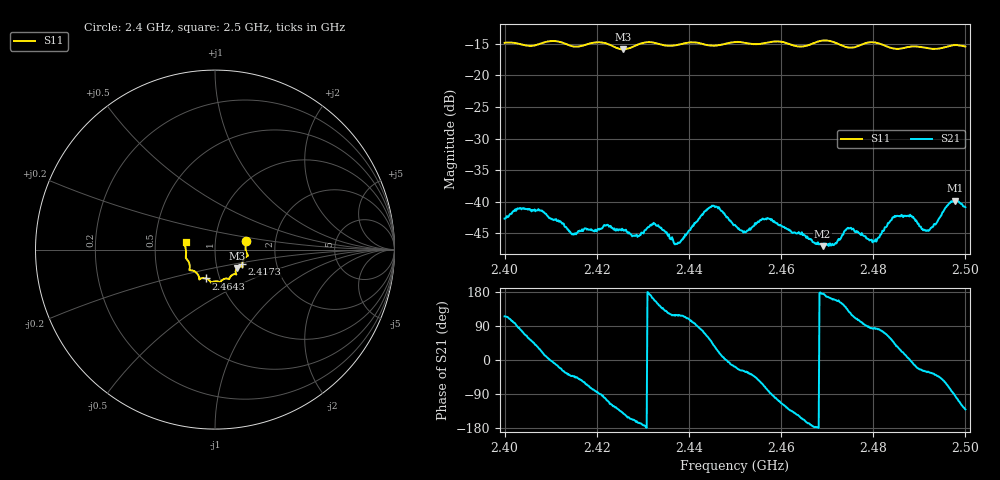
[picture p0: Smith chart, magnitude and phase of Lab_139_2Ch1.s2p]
# Hz S RI R 50
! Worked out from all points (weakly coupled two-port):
!   601 points, 2.4 GHz to 2.5 GHz, reference 50 ohm
!   highest |S21| = -39.80 dB at 2.4978 GHz (marker M1); lowest = -47.0 dB at 2.469 GHz (marker M2)
!   lowest |S11| = -15.9 dB at 2.4257 GHz (marker M3), VSWR 1.38, Z = 62.5 - j13.1 ohm
!   |S11| at or under -10 dB: start of sweep to end of sweep
!   S12 and S22 are empty: the file has one direction only
!   S11 on the Smith chart (normalised r, x): 2.4 GHz: 1.41, +0.14; 2.4173 GHz: 1.34, -0.23; 2.4643 GHz: 0.86, -0.29; 2.5 GHz: 0.72, +0.06
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2.4e9  0.1735 0.0496  -0.00313 0.00667  0 0  0 0
2.407667e9  0.1764 -0.0177  0.00752 0.00406  0 0  0 0
2.414667e9  0.1614 -0.0523  0.00413 -0.00367  0 0  0 0
2.416667e9  0.153 -0.0746  0.00355 -0.00469  0 0  0 0
2.417333e9  0.1522 -0.0821  0.00321 -0.00526  0 0  0 0
2.425667e9  0.1229 -0.1025  -0.0046 -0.0039  0 0  0 0
2.433333e9  0.1125 -0.1367  -0.00552 0.00353  0 0  0 0
2.4375e9  0.0849 -0.1512  -0.00223 0.00409  0 0  0 0
2.4455e9  0.0516 -0.1632  0.0074 0.0056  0 0  0 0
2.45e9  0.029 -0.1809  0.00628 -0.00198  0 0  0 0
2.452333e9  0.021 -0.1786  0.00489 -0.00303  0 0  0 0
2.457167e9  -0.0143 -0.181  0.00118 -0.00732  0 0  0 0
2.464333e9  -0.05 -0.1609  -0.00502 -0.00251  0 0  0 0
2.466667e9  -0.0761 -0.1597  -0.00494 -0.00062  0 0  0 0
2.469e9  -0.0877 -0.1661  -0.00445 0.000355  0 0  0 0
2.474667e9  -0.1031 -0.1294  -0.00383 0.00481  0 0  0 0
2.480333e9  -0.1428 -0.1125  0.000487 0.00484  0 0  0 0
2.483333e9  -0.1404 -0.09  0.00318 0.00598  0 0  0 0
2.487833e9  -0.1597 -0.052  0.00765 0.000313  0 0  0 0
2.491833e9  -0.1613 -0.0269  0.00514 -0.00304  0 0  0 0
2.497833e9  -0.1702 0.031  -0.000995 -0.0102  0 0  0 0
2.5e9  -0.1634 0.0417  -0.00587 -0.0069  0 0  0 0
